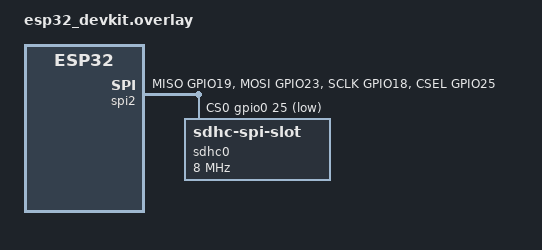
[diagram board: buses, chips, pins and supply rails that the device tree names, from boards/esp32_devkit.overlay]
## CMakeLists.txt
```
cmake_minimum_required(VERSION 3.20.0)

execute_process(
    COMMAND python ${CMAKE_CURRENT_LIST_DIR}/../scripts/generate_zephyr_overlay.py
            --config ${CMAKE_CURRENT_LIST_DIR}/../hardware_config.json
            --expert lighting
            --out ${CMAKE_CURRENT_LIST_DIR}/boards/generated.overlay
    RESULT_VARIABLE OVERLAY_GEN_RESULT
)
if(NOT OVERLAY_GEN_RESULT EQUAL 0)
    message(FATAL_ERROR "Failed to generate lighting_expert_logger devicetree overlay")
endif()

set(DTC_OVERLAY_FILE boards/generated.overlay)

find_package(Zephyr REQUIRED HINTS $ENV{ZEPHYR_BASE})

project(lighting_expert_logger)

target_include_directories(app PRIVATE ../common)
target_sources(app PRIVATE
    src/main.c
    ../common/dataset_commands.c
    ../common/uart_line_parser.c
    ../common/csv_logger.c
)
```

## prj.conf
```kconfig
# Zephyr config for lighting_expert_logger

CONFIG_SERIAL=y
CONFIG_CONSOLE=y
CONFIG_UART_CONSOLE=y
CONFIG_SHELL=y
CONFIG_SHELL_BACKEND_SERIAL=y
CONFIG_LOG=y
CONFIG_PRINTK=y

CONFIG_GPIO=y
CONFIG_I2C=y
CONFIG_SPI=y
CONFIG_ADC=y
CONFIG_SENSOR=y

CONFIG_DISK_ACCESS=y
CONFIG_DISK_DRIVER_SDMMC=y
CONFIG_FILE_SYSTEM=y
CONFIG_FAT_FILESYSTEM_ELM=y
CONFIG_FS_FATFS_LFN=y
CONFIG_SDHC=y
CONFIG_SDMMC_STACK=y

CONFIG_MAIN_STACK_SIZE=4096
CONFIG_HEAP_MEM_POOL_SIZE=8192

CONFIG_NEWLIB_LIBC=y
CONFIG_MINIMAL_LIBC=n
```

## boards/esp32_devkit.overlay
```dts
/* ESP32 DevKit overlay for Lighting Expert Logger. */
/* SD: SCK GPIO18, MISO GPIO19, MOSI GPIO23, CS GPIO25. */
/* Enable optional lighting aliases only after final safe pin mapping is selected. */

#include <zephyr/dt-bindings/pinctrl/esp32-pinctrl.h>

&pinctrl {
    lighting_spim2_default: lighting_spim2_default {
        group1 {
            pinmux = <SPIM2_MISO_GPIO19>,
                     <SPIM2_MOSI_GPIO23>,
                     <SPIM2_SCLK_GPIO18>,
                     <SPIM2_CSEL_GPIO25>;
        };
    };
};

&spi2 {
    status = "okay";
    cs-gpios = <&gpio0 25 GPIO_ACTIVE_LOW>;
    pinctrl-0 = <&lighting_spim2_default>;
    pinctrl-names = "default";

    sdhc0: sdhc@0 {
        compatible = "zephyr,sdhc-spi-slot";
        reg = <0>;
        status = "okay";
        spi-max-frequency = <8000000>;

        mmc {
            compatible = "zephyr,sdmmc-disk";
            disk-name = "SD";
            status = "okay";
        };
    };
};

/ {
    aliases {
        /* light-current-sensor = &light_current_sensor; */
        /* light-voltage-adc = &light_voltage_adc; */
        /* light-sensor = &light_sensor; */
        /* light-driver-temp-adc = &light_driver_temp_adc; */
        /* light-fault-gpio = &light_fault_node; */
        /* lighting-tel-uart = &uart1; */
    };
};
```

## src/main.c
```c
#include "csv_logger.h"
#include "dataset_commands.h"
#include "uart_line_parser.h"

#include <errno.h>
#include <stdlib.h>
#include <string.h>
#include <zephyr/device.h>
#include <zephyr/drivers/gpio.h>
#include <zephyr/kernel.h>
#include <zephyr/logging/log.h>
#include <zephyr/sys/printk.h>

LOG_MODULE_REGISTER(lighting_expert_logger, LOG_LEVEL_INF);

#define ROBOT_ID "porter_dev"
#define EXPERT_NAME "lighting_expert"
#define FAULT_SUBSYSTEM "lighting"
#define LOG_PERIOD_MS 100
#define TELEMETRY_STALE_MS 500
#define UART_BUF_LEN 128
#define LINE_BUF_LEN 384

struct lighting_telemetry {
	struct k_mutex lock;
	int brightness_command;
	double light_current_a;
	double light_voltage_v;
	double light_sensor_lux;
	double light_driver_temp_c;
	int64_t last_rx_ms;
};

static struct lighting_telemetry telemetry;
static char uart_buffer[UART_BUF_LEN];
static struct uart_line_parser parser;

#if DT_NODE_HAS_STATUS(DT_ALIAS(lighting_tel_uart), okay)
static const struct device *const telemetry_uart = DEVICE_DT_GET(DT_ALIAS(lighting_tel_uart));
#else
static const struct device *const telemetry_uart;
#endif

#if DT_NODE_HAS_PROP(DT_ALIAS(light_fault_gpio), gpios)
static const struct gpio_dt_spec light_fault_gpio =
	GPIO_DT_SPEC_GET(DT_ALIAS(light_fault_gpio), gpios);
#else
static const struct gpio_dt_spec light_fault_gpio = { 0 };
#endif

static const struct dataset_config dataset_config = {
	.expert_name = EXPERT_NAME,
	.fault_subsystem = FAULT_SUBSYSTEM,
	.robot_id = ROBOT_ID,
	.raw_header = DATASET_COMMON_COLUMNS
		      ",brightness_command,light_current_a,light_voltage_v,light_sensor_lux,"
		      "light_driver_temp_c,light_fault_gpio,telemetry_valid,telemetry_age_ms\n",
	.metadata_extra = "sample_period_ms=100\ntelemetry_stale_ms=500\n",
};

static int optional_gpio_read(const struct gpio_dt_spec *spec)
{
	int ret;

	if (spec == NULL || spec->port == NULL || !device_is_ready(spec->port)) {
		return -1;
	}

	ret = gpio_pin_get_dt(spec);
	return ret < 0 ? -1 : ret;
}

static void optional_gpio_configure(const struct gpio_dt_spec *spec, const char *name)
{
	int ret;

	if (spec == NULL || spec->port == NULL) {
		LOG_WRN("%s not configured", name);
		return;
	}
	if (!device_is_ready(spec->port)) {
		LOG_WRN("%s GPIO port not ready", name);
		return;
	}

	ret = gpio_pin_configure_dt(spec, GPIO_INPUT);
	if (ret != 0) {
		LOG_WRN("%s configure failed: %d", name, ret);
	}
}

static int parse_int_token(char **saveptr, int *value)
{
	char *token = strtok_r(NULL, ",", saveptr);
	char *end;
	long parsed;

	if (token == NULL) {
		return -EINVAL;
	}
	parsed = strtol(token, &end, 10);
	if (*end != '\0') {
		return -EINVAL;
	}
	*value = (int)parsed;
	return 0;
}

static int parse_double_token(char **saveptr, double *value)
{
	char *token = strtok_r(NULL, ",", saveptr);
	char *end;
	double parsed;

	if (token == NULL) {
		return -EINVAL;
	}
	parsed = strtod(token, &end);
	if (*end != '\0') {
		return -EINVAL;
	}
	*value = parsed;
	return 0;
}

static void handle_telemetry_line(const char *line, void *user_data)
{
	char local[UART_BUF_LEN];
	char *saveptr;
	char *prefix;
	struct lighting_telemetry next;

	ARG_UNUSED(user_data);

	strncpy(local, line, sizeof(local) - 1);
	local[sizeof(local) - 1] = '\0';

	prefix = strtok_r(local, ",", &saveptr);
	if (prefix == NULL || strcmp(prefix, "LGT") != 0) {
		return;
	}

	if (parse_int_token(&saveptr, &next.brightness_command) != 0 ||
	    parse_double_token(&saveptr, &next.light_current_a) != 0 ||
	    parse_double_token(&saveptr, &next.light_voltage_v) != 0 ||
	    parse_double_token(&saveptr, &next.light_sensor_lux) != 0 ||
	    parse_double_token(&saveptr, &next.light_driver_temp_c) != 0) {
		LOG_WRN("Invalid LGT line");
		return;
	}

	next.last_rx_ms = k_uptime_get();
	k_mutex_lock(&telemetry.lock, K_FOREVER);
	telemetry = next;
	k_mutex_unlock(&telemetry.lock);
}

static void logger_thread(void)
{
	char line[LINE_BUF_LEN];
	struct dataset_snapshot snapshot;
	struct lighting_telemetry sample;
	int64_t now;
	int age_ms;
	bool valid;
	int offset;

	while (true) {
		if (telemetry_uart != NULL) {
			uart_line_parser_poll(&parser);
		}

		k_sleep(K_MSEC(LOG_PERIOD_MS));

		if (!dataset_is_run_active()) {
			continue;
		}

		now = k_uptime_get();
		dataset_get_snapshot(&snapshot);

		k_mutex_lock(&telemetry.lock, K_FOREVER);
		sample = telemetry;
		k_mutex_unlock(&telemetry.lock);

		age_ms = sample.last_rx_ms > 0 ? (int)(now - sample.last_rx_ms) : -1;
		valid = age_ms >= 0 && age_ms <= TELEMETRY_STALE_MS;

		offset = dataset_write_common_prefix(line, sizeof(line), &snapshot, now);
		if (offset < 0 || offset >= (int)sizeof(line)) {
			continue;
		}

		csv_append_int(line, sizeof(line), &offset, valid ? sample.brightness_command : -1);
		csv_append_double(line, sizeof(line), &offset, valid ? sample.light_current_a : -1.0);
		csv_append_double(line, sizeof(line), &offset, valid ? sample.light_voltage_v : -1.0);
		csv_append_double(line, sizeof(line), &offset, valid ? sample.light_sensor_lux : -1.0);
		csv_append_double(line, sizeof(line), &offset, valid ? sample.light_driver_temp_c : -1.0);
		csv_append_int(line, sizeof(line), &offset, optional_gpio_read(&light_fault_gpio));
		csv_append_bool(line, sizeof(line), &offset, valid);
		csv_append_int(line, sizeof(line), &offset, age_ms);
		snprintf(line + offset, sizeof(line) - offset, "\n");

		dataset_write_raw_line(line);
	}
}

K_THREAD_DEFINE(logger_tid, 4096, logger_thread, NULL, NULL, NULL, 5, 0, 0);

int main(void)
{
	int ret;

	k_mutex_init(&telemetry.lock);

	printk("========================================\n");
	printk("Lighting Expert Logger\n");
	printk("========================================\n");
	printk("UART format: LGT,brightness_command,light_current,light_voltage,light_sensor_lux,light_driver_temp\n");

	optional_gpio_configure(&light_fault_gpio, "light-fault-gpio");

	ret = dataset_init(&dataset_config);
	if (ret != 0) {
		LOG_ERR("SD storage is not ready: %d", ret);
	}

	if (telemetry_uart != NULL && device_is_ready(telemetry_uart)) {
		uart_line_parser_init(&parser, telemetry_uart, uart_buffer, sizeof(uart_buffer),
				      handle_telemetry_line, NULL);
		LOG_INF("Lighting telemetry UART ready");
	} else {
		LOG_WRN("No lighting-tel-uart alias is enabled; UART telemetry will remain invalid");
	}

	return 0;
}
```
